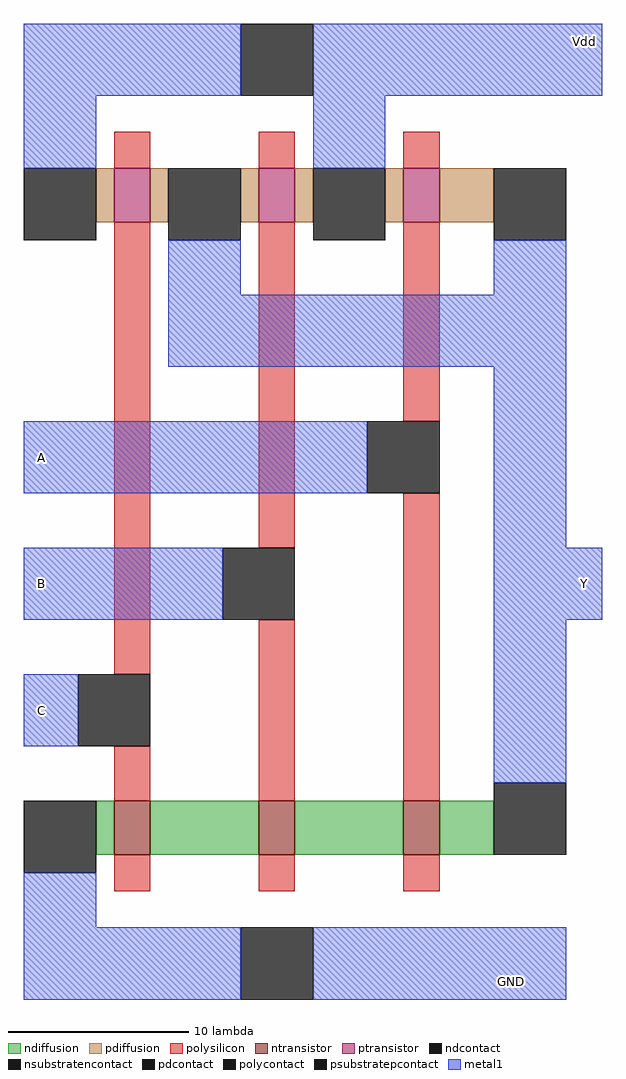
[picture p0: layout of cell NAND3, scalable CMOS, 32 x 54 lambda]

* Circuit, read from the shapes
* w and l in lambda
.subckt NAND3 A B C GND Vdd Y
M1 n1 C GND GND nfet w=3 l=2
M2 n2 B n1 GND nfet w=3 l=2
M3 Y A n2 GND nfet w=3 l=2
M4 Y C Vdd Vdd pfet w=3 l=2
M5 Vdd B Y Vdd pfet w=3 l=2
M6 Y A Vdd Vdd pfet w=3 l=2
.ends

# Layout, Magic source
magic
tech scmos
<< polysilicon >>
rect -15 10 -13 12
rect -7 10 -5 12
rect 1 10 3 12
rect -15 -18 -13 7
rect -7 -11 -5 7
rect 1 -4 3 7
rect -15 -25 -13 -22
rect -7 -25 -5 -15
rect 1 -25 3 -8
rect -15 -30 -13 -28
rect -7 -30 -5 -28
rect 1 -30 3 -28
<< ndiffusion >>
rect -16 -28 -15 -25
rect -13 -28 -7 -25
rect -5 -28 1 -25
rect 3 -28 6 -25
<< pdiffusion >>
rect -16 7 -15 10
rect -13 7 -12 10
rect -8 7 -7 10
rect -5 7 -4 10
rect 0 7 1 10
rect 3 7 6 10
<< metal1 >>
rect -20 14 -8 18
rect -4 14 12 18
rect -20 10 -16 14
rect -4 10 0 14
rect -12 3 -8 6
rect 6 3 10 6
rect -12 -1 10 3
rect -20 -8 -1 -4
rect 6 -11 10 -1
rect -20 -15 -9 -11
rect 6 -15 12 -11
rect -20 -22 -17 -18
rect 6 -24 10 -15
rect -20 -32 -16 -29
rect -20 -36 -8 -32
rect -4 -36 10 -32
<< ntransistor >>
rect -15 -28 -13 -25
rect -7 -28 -5 -25
rect 1 -28 3 -25
<< ptransistor >>
rect -15 7 -13 10
rect -7 7 -5 10
rect 1 7 3 10
<< polycontact >>
rect -1 -8 3 -4
rect -9 -15 -5 -11
rect -17 -22 -13 -18
<< ndcontact >>
rect -20 -29 -16 -25
rect 6 -28 10 -24
<< pdcontact >>
rect -20 6 -16 10
rect -12 6 -8 10
rect -4 6 0 10
rect 6 6 10 10
<< psubstratepcontact >>
rect -8 -36 -4 -32
<< nsubstratencontact >>
rect -8 14 -4 18
<< labels >>
rlabel metal1 11 16 11 18 6 Vdd
rlabel metal1 -19 -7 -19 -5 3 A
rlabel metal1 -19 -14 -19 -12 3 B
rlabel metal1 -19 -21 -19 -19 3 C
rlabel metal1 11 -14 11 -12 7 Y
rlabel metal1 7 -36 7 -34 8 GND
<< end >>
